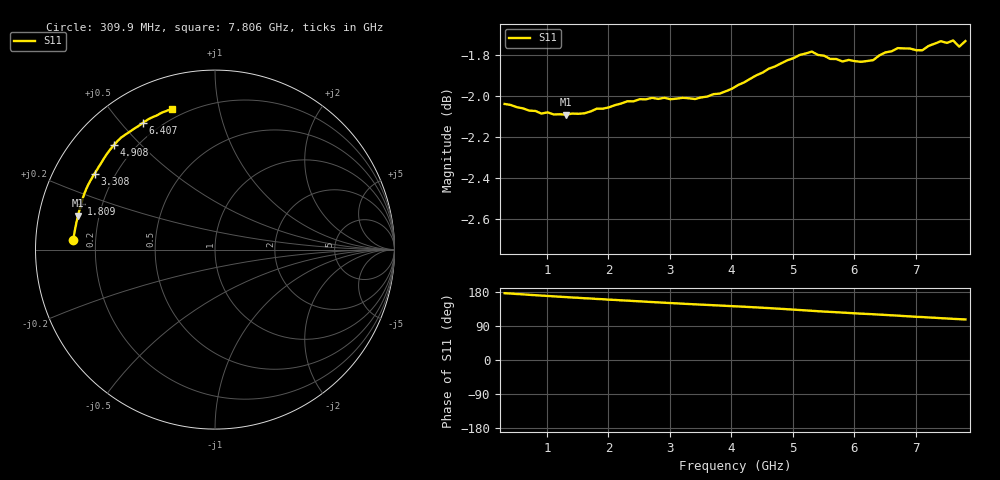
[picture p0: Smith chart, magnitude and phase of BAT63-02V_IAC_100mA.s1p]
! Infineon Technologies  Discrete & RF Semiconductors
! BAT63-02V
! IAC = 100 mA
! One-Port S-Parameters
# Hz  S  MA  R  50
!f  S11
!Hz  Mag  Ang
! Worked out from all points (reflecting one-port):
!   76 points, 309.9 MHz to 7.806 GHz, reference 50 ohm
!   lowest |S11| = -2.1 dB at 1.309 GHz (marker M1), VSWR 8.35, Z = 6.08 + j6.04 ohm
!   phase of S11 starts at 176 deg and turns -69 deg over the sweep
!   S11 on the Smith chart (normalised r, x): 309.9 MHz: 0.12, +0.03; 1.809 GHz: 0.12, +0.16; 3.308 GHz: 0.12, +0.29; 4.908 GHz: 0.12, +0.42; 6.407 GHz: 0.14, +0.57; 7.806 GHz: 0.15, +0.73
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3.0985e8  0.7908 176.3
7.0965e8  0.7879 172.0
1.30935e9  0.7861 166.0
1.6092e9  0.7867 163.0
1.70915e9  0.7875 162.3
1.8091e9  0.7887 161.1
1.90905e9  0.7887 160.4
2.009e9  0.7893 159.2
2.10895e9  0.7903 158.5
2.2089e9  0.791 157.4
2.30885e9  0.792 156.7
2.50875e9  0.793 154.8
2.8086e9  0.7931 152.0
3.2084e9  0.7936 148.6
3.30835e9  0.7933 147.7
4.10795e9  0.7993 141.3
4.4078e9  0.8036 138.9
4.90755e9  0.8104 134.0
5.0075e9  0.8113 133.0
5.4073e9  0.8128 128.8
6.007e9  0.81 123.3
6.4068e9  0.8126 119.8
6.70665e9  0.8159 117.1
6.90655e9  0.8157 115.1
7.0065e9  0.815 113.9
7.10645e9  0.815 113.3
7.4063e9  0.8191 110.4
7.8061e9  0.8192 107.0
